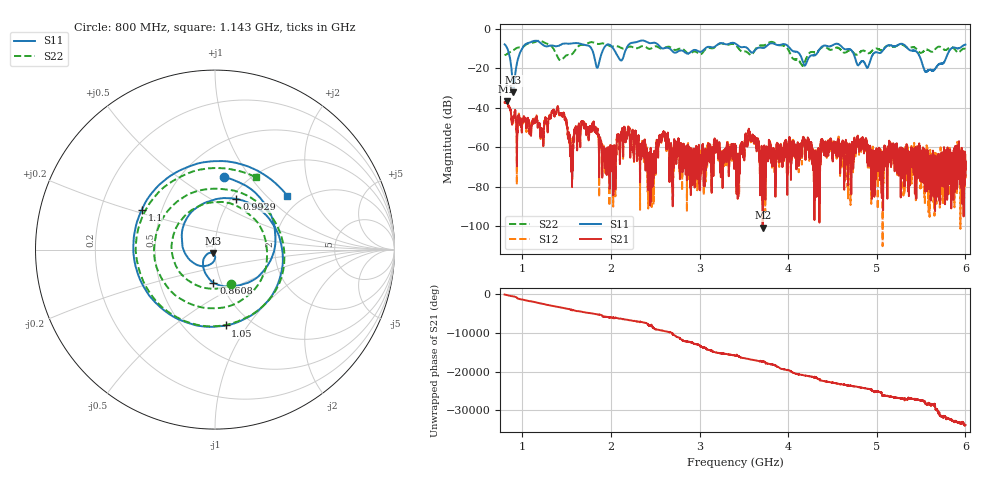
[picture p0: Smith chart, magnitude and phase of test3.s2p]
!Keysight Technologies N9923A: A.08.15
!Date: Friday, 16 February 2024 23:02:22
!Timezone: (GMT-05:00) Eastern Time (US & Canada)
!Model: N9923A
!Serial: MY52412730
!GPS Latitude:
!GPS Longitude:
!GPS TimeStamp: 0001-01-01 00:00:00Z
!GPS Seconds Since Last Read: 0
!CHECKSUM:0251846919
!Correction: S11(ON Q)S21(ON Q)S12(ON Q)S22(ON Q)
!S2P File: Measurements:S11,S21,S12,S22:
# Hz S DB R 50
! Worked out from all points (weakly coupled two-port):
!   10001 points, 800 MHz to 6 GHz, reference 50 ohm
!   highest |S21| = -36.63 dB at 821.8 MHz (marker M1); lowest = -100.7 dB at 3.712 GHz (marker M2)
!   lowest |S11| = -32.2 dB at 898.3 MHz (marker M3), VSWR 1.05, Z = 48.7 - j2.05 ohm
!   |S11| at or under -10 dB: 2.664 GHz to 3.061 GHz (396.2 MHz wide, 13.8 % of centre); 4.628 GHz to 5.084 GHz (456.1 MHz wide, 9.39 % of centre); 5.352 GHz to 5.838 GHz (486.4 MHz wide, 8.69 % of centre) (the widest 3 of 8)
!   |S22| runs from -18.6 to -5.9 dB; largest |S21 - S12| = 0.0013
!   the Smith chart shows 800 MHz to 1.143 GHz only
!   S11 on the Smith chart (normalised r, x): 800 MHz: 0.78, +0.76; 860.8 MHz: 0.92, -0.35; 992.9 MHz: 1.06, +0.66; 1.05 GHz: 0.77, -0.79; 1.1 GHz: 0.39, +0.22; 1.143 GHz: 1.67, +1.34
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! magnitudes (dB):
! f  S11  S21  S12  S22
! 800 MHz  -7.8  -37.2  -37.4  -13.4
! 821.8 MHz  -9.1  -36.6  -37.0  -12.9
! 860.8 MHz  -14.7  -40.1  -40.3  -11.8
! 898.3 MHz  -32.2  -45.9  -46.5  -10.9
! 992.9 MHz  -10.3  -50.9  -50.6  -9.4
! 1.05 GHz  -7.4  -49.1  -49.5  -7.7
! 1.1 GHz  -6.7  -52.7  -51.8  -7.1
! 1.143 GHz  -6.0  -46.6  -46.5  -6.7
! 1.414 GHz  -8.5  -42.5  -42.9  -15.5
! 1.554 GHz  -7.4  -62.3  -62.2  -12.9
! 1.667 GHz  -7.7  -47.2  -47.1  -8.1
! 2.028 GHz  -10.1  -73.2  -75.8  -8.8
! 2.187 GHz  -8.8  -52.4  -52.0  -9.4
! 2.437 GHz  -7.2  -71.9  -66.9  -10.1
! 2.534 GHz  -8.0  -61.7  -60.0  -9.3
! 3.4 GHz  -7.3  -61.4  -62.5  -8.0
! 3.573 GHz  -11.4  -55.5  -55.1  -13.1
! 3.712 GHz  -9.7  -100.7  -66.1  -8.4
! 4.267 GHz  -13.4  -60.2  -62.8  -11.7
! 5.134 GHz  -8.3  -60.5  -65.5  -8.3
! 5.563 GHz  -21.5  -64.5  -61.7  -10.4
! 6 GHz  -7.9  -70.9  -67.9  -10.1
